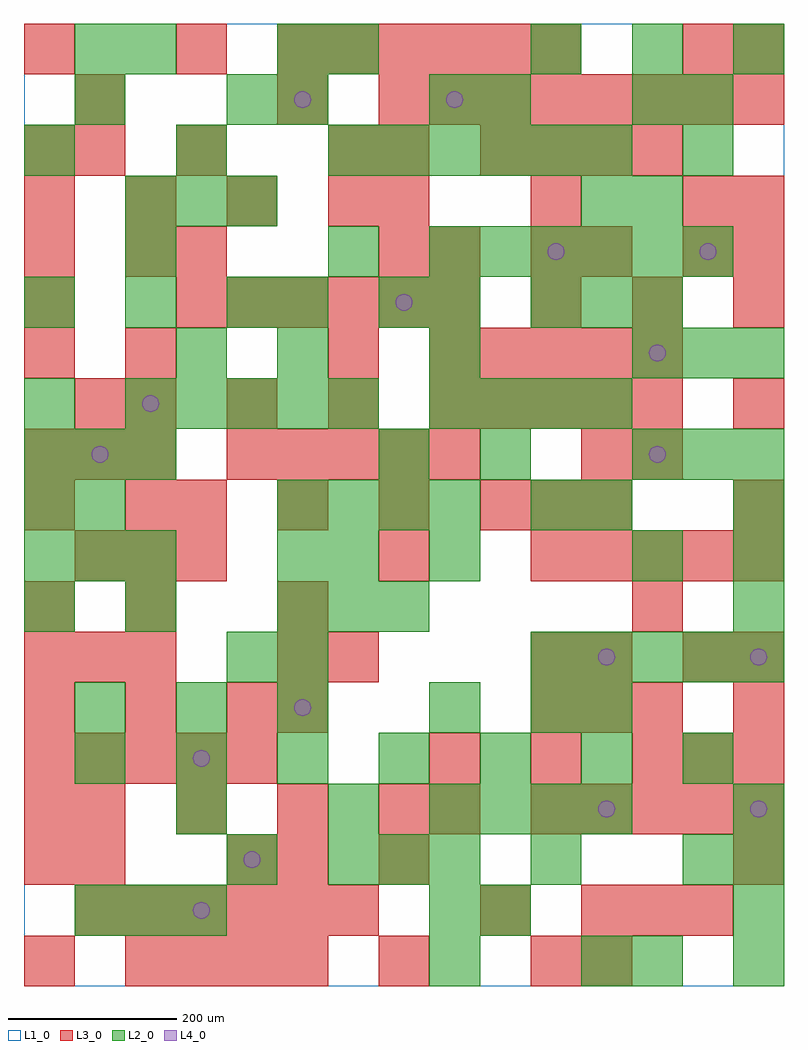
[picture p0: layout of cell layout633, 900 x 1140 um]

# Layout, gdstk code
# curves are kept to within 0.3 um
import gdstk
lib = gdstk.Library(unit=1e-6, precision=1e-09)
def R(c, l, rs):  # rectangles x0, y0, x1, y1
    for r in rs: c.add(gdstk.rectangle(r[:2], r[2:], *l))
def A(c, l, x, y, w, h, nx, ny, dx, dy):  # array of equal rectangles
    R(c, l, [(x+i*dx, y+j*dy, x+i*dx+w, y+j*dy+h) for i in range(nx) for j in range(ny)])
def P(c, l, *ps):  # polygons
    for p in ps: c.add(gdstk.Polygon(p, *l))
L1_0 = (1, 0)
L2_0 = (2, 0)
L3_0 = (3, 0)
L4_0 = (4, 0)

layout633 = lib.new_cell('layout633')
R(layout633, L1_0, [(0,0,900,1140)])
A(layout633, L2_0, 840, 0, 60, 60, 1, 4, 0, 60)
A(layout633, L2_0, 60, 60, 60, 60, 3, 1, 60, 0)
A(layout633, L2_0, 360, 120, 60, 60, 3, 1, 60, 0)
A(layout633, L2_0, 480, 180, 60, 60, 4, 2, 60, 480)
A(layout633, L2_0, 60, 240, 60, 60, 7, 1, 120, 0)
A(layout633, L2_0, 60, 300, 60, 60, 3, 1, 120, 0)
A(layout633, L2_0, 600, 360, 60, 60, 5, 1, 60, 0)
A(layout633, L2_0, 0, 420, 60, 60, 1, 3, 0, 120)
A(layout633, L2_0, 300, 420, 60, 60, 3, 1, 60, 0)
A(layout633, L2_0, 840, 420, 60, 60, 1, 3, 0, 60)
A(layout633, L2_0, 0, 480, 60, 60, 3, 2, 60, 120)
A(layout633, L2_0, 300, 540, 60, 60, 4, 1, 60, 0)
A(layout633, L2_0, 720, 600, 60, 60, 3, 2, 60, 120)
A(layout633, L2_0, 120, 660, 60, 60, 5, 1, 60, 0)
A(layout633, L2_0, 0, 780, 60, 60, 3, 1, 120, 0)
A(layout633, L2_0, 600, 780, 60, 60, 3, 1, 60, 0)
A(layout633, L2_0, 480, 840, 60, 60, 6, 1, 60, 0)
A(layout633, L2_0, 120, 900, 60, 60, 3, 1, 60, 0)
A(layout633, L2_0, 0, 960, 60, 60, 3, 1, 180, 0)
A(layout633, L2_0, 420, 960, 60, 60, 5, 1, 60, 0)
A(layout633, L2_0, 600, 1080, 60, 60, 3, 1, 120, 0)
R(layout633, L2_0, [(480,0,540,60), (660,0,720,60), (720,0,780,60), (480,60,540,120), (540,60,600,120), (240,120,300,180), (600,120,660,180), (780,120,840,180), (180,180,240,240), (360,180,420,240), (480,300,540,360), (600,300,660,360), (660,300,720,360), (240,360,300,420), (300,360,360,420), (120,420,180,480), (300,480,360,540), (360,480,420,540), (480,480,540,540), (720,480,780,540), (60,540,120,600), (600,540,660,600), (660,540,720,600), (420,600,480,660), (540,600,600,660), (180,720,240,780), (300,720,360,780), (480,720,540,780), (300,780,360,840), (420,780,480,840), (480,780,540,840), (120,840,180,900), (360,840,420,900), (660,900,720,960), (720,900,780,960), (780,960,840,1020), (60,1020,120,1080), (240,1020,300,1080), (300,1020,360,1080), (480,1020,540,1080), (540,1020,600,1080), (720,1020,780,1080), (780,1020,840,1080), (60,1080,120,1140), (120,1080,180,1140), (300,1080,360,1140), (360,1080,420,1140)])
A(layout633, L3_0, 120, 0, 60, 60, 4, 1, 60, 0)
A(layout633, L3_0, 60, 60, 60, 60, 6, 1, 60, 0)
A(layout633, L3_0, 660, 60, 60, 60, 3, 1, 60, 0)
A(layout633, L3_0, 420, 120, 60, 60, 1, 3, 0, 360)
A(layout633, L3_0, 60, 180, 60, 60, 4, 1, 120, 0)
A(layout633, L3_0, 600, 180, 60, 60, 5, 2, 60, 300)
A(layout633, L3_0, 0, 240, 60, 60, 5, 1, 60, 0)
A(layout633, L3_0, 480, 240, 60, 60, 3, 1, 120, 0)
A(layout633, L3_0, 840, 240, 60, 60, 1, 3, 0, 60)
A(layout633, L3_0, 0, 300, 60, 60, 3, 1, 120, 0)
A(layout633, L3_0, 300, 300, 60, 60, 1, 3, 0, 60)
A(layout633, L3_0, 600, 300, 60, 60, 3, 1, 60, 0)
A(layout633, L3_0, 0, 360, 60, 60, 3, 2, 60, 240)
A(layout633, L3_0, 60, 480, 60, 60, 3, 1, 60, 0)
A(layout633, L3_0, 180, 540, 60, 60, 4, 1, 120, 0)
A(layout633, L3_0, 240, 600, 60, 60, 5, 1, 60, 0)
A(layout633, L3_0, 120, 660, 60, 60, 4, 1, 120, 0)
A(layout633, L3_0, 540, 660, 60, 60, 4, 2, 60, 300)
A(layout633, L3_0, 0, 720, 60, 60, 1, 3, 0, 60)
A(layout633, L3_0, 480, 720, 60, 60, 5, 1, 60, 0)
A(layout633, L3_0, 180, 780, 60, 60, 6, 1, 60, 0)
A(layout633, L3_0, 600, 780, 60, 60, 3, 1, 120, 0)
A(layout633, L3_0, 180, 840, 60, 60, 1, 3, 0, 120)
A(layout633, L3_0, 0, 900, 60, 60, 4, 1, 120, 0)
A(layout633, L3_0, 420, 900, 60, 60, 3, 1, 180, 0)
A(layout633, L3_0, 420, 1020, 60, 60, 8, 1, 60, 0)
A(layout633, L3_0, 300, 1080, 60, 60, 6, 1, 60, 0)
R(layout633, L3_0, [(0,0,60,60), (420,0,480,60), (600,0,660,60), (660,0,720,60), (540,60,600,120), (0,120,60,180), (60,120,120,180), (240,120,300,180), (300,120,360,180), (840,120,900,180), (0,180,60,240), (480,180,540,240), (780,240,840,300), (360,360,420,420), (600,360,660,420), (660,360,720,420), (780,360,840,420), (0,420,60,480), (120,420,180,480), (720,420,780,480), (0,540,60,600), (120,540,180,600), (600,540,660,600), (660,540,720,600), (840,540,900,600), (660,600,720,660), (720,600,780,660), (60,660,120,720), (840,660,900,720), (120,720,180,780), (360,720,420,780), (120,840,180,900), (480,840,540,900), (600,840,660,900), (660,840,720,900), (780,840,840,900), (840,840,900,900), (840,900,900,960), (0,960,60,1020), (60,960,120,1020), (360,960,420,1020), (420,960,480,1020), (60,1020,120,1080), (300,1020,360,1080), (0,1080,60,1140), (780,1080,840,1140), (840,1080,900,1140)])
P(layout633, L4_0, [(100,630),(99.239,633.827),(97.071,637.071),(93.827,639.239),(90,640),(86.173,639.239),(82.929,637.071),(80.761,633.827),(80,630),(80.761,626.173),(82.929,622.929),(86.173,620.761),(90,620),(93.827,620.761),(97.071,622.929),(99.239,626.173)],
  [(160,690),(159.239,693.827),(157.071,697.071),(153.827,699.239),(150,700),(146.173,699.239),(142.929,697.071),(140.761,693.827),(140,690),(140.761,686.173),(142.929,682.929),(146.173,680.761),(150,680),(153.827,680.761),(157.071,682.929),(159.239,686.173)],
  [(220,90),(219.239,93.827),(217.071,97.071),(213.827,99.239),(210,100),(206.173,99.239),(202.929,97.071),(200.761,93.827),(200,90),(200.761,86.173),(202.929,82.929),(206.173,80.761),(210,80),(213.827,80.761),(217.071,82.929),(219.239,86.173)],
  [(220,270),(219.239,273.827),(217.071,277.071),(213.827,279.239),(210,280),(206.173,279.239),(202.929,277.071),(200.761,273.827),(200,270),(200.761,266.173),(202.929,262.929),(206.173,260.761),(210,260),(213.827,260.761),(217.071,262.929),(219.239,266.173)],
  [(280,150),(279.239,153.827),(277.071,157.071),(273.827,159.239),(270,160),(266.173,159.239),(262.929,157.071),(260.761,153.827),(260,150),(260.761,146.173),(262.929,142.929),(266.173,140.761),(270,140),(273.827,140.761),(277.071,142.929),(279.239,146.173)],
  [(340,330),(339.239,333.827),(337.071,337.071),(333.827,339.239),(330,340),(326.173,339.239),(322.929,337.071),(320.761,333.827),(320,330),(320.761,326.173),(322.929,322.929),(326.173,320.761),(330,320),(333.827,320.761),(337.071,322.929),(339.239,326.173)],
  [(340,1050),(339.239,1053.827),(337.071,1057.071),(333.827,1059.239),(330,1060),(326.173,1059.239),(322.929,1057.071),(320.761,1053.827),(320,1050),(320.761,1046.173),(322.929,1042.929),(326.173,1040.761),(330,1040),(333.827,1040.761),(337.071,1042.929),(339.239,1046.173)],
  [(460,810),(459.239,813.827),(457.071,817.071),(453.827,819.239),(450,820),(446.173,819.239),(442.929,817.071),(440.761,813.827),(440,810),(440.761,806.173),(442.929,802.929),(446.173,800.761),(450,800),(453.827,800.761),(457.071,802.929),(459.239,806.173)],
  [(520,1050),(519.239,1053.827),(517.071,1057.071),(513.827,1059.239),(510,1060),(506.173,1059.239),(502.929,1057.071),(500.761,1053.827),(500,1050),(500.761,1046.173),(502.929,1042.929),(506.173,1040.761),(510,1040),(513.827,1040.761),(517.071,1042.929),(519.239,1046.173)],
  [(640,870),(639.239,873.827),(637.071,877.071),(633.827,879.239),(630,880),(626.173,879.239),(622.929,877.071),(620.761,873.827),(620,870),(620.761,866.173),(622.929,862.929),(626.173,860.761),(630,860),(633.827,860.761),(637.071,862.929),(639.239,866.173)],
  [(700,210),(699.239,213.827),(697.071,217.071),(693.827,219.239),(690,220),(686.173,219.239),(682.929,217.071),(680.761,213.827),(680,210),(680.761,206.173),(682.929,202.929),(686.173,200.761),(690,200),(693.827,200.761),(697.071,202.929),(699.239,206.173)],
  [(700,390),(699.239,393.827),(697.071,397.071),(693.827,399.239),(690,400),(686.173,399.239),(682.929,397.071),(680.761,393.827),(680,390),(680.761,386.173),(682.929,382.929),(686.173,380.761),(690,380),(693.827,380.761),(697.071,382.929),(699.239,386.173)],
  [(760,630),(759.239,633.827),(757.071,637.071),(753.827,639.239),(750,640),(746.173,639.239),(742.929,637.071),(740.761,633.827),(740,630),(740.761,626.173),(742.929,622.929),(746.173,620.761),(750,620),(753.827,620.761),(757.071,622.929),(759.239,626.173)],
  [(760,750),(759.239,753.827),(757.071,757.071),(753.827,759.239),(750,760),(746.173,759.239),(742.929,757.071),(740.761,753.827),(740,750),(740.761,746.173),(742.929,742.929),(746.173,740.761),(750,740),(753.827,740.761),(757.071,742.929),(759.239,746.173)],
  [(820,870),(819.239,873.827),(817.071,877.071),(813.827,879.239),(810,880),(806.173,879.239),(802.929,877.071),(800.761,873.827),(800,870),(800.761,866.173),(802.929,862.929),(806.173,860.761),(810,860),(813.827,860.761),(817.071,862.929),(819.239,866.173)],
  [(880,210),(879.239,213.827),(877.071,217.071),(873.827,219.239),(870,220),(866.173,219.239),(862.929,217.071),(860.761,213.827),(860,210),(860.761,206.173),(862.929,202.929),(866.173,200.761),(870,200),(873.827,200.761),(877.071,202.929),(879.239,206.173)],
  [(880,390),(879.239,393.827),(877.071,397.071),(873.827,399.239),(870,400),(866.173,399.239),(862.929,397.071),(860.761,393.827),(860,390),(860.761,386.173),(862.929,382.929),(866.173,380.761),(870,380),(873.827,380.761),(877.071,382.929),(879.239,386.173)])

lib.write_gds('layout633.gds')
